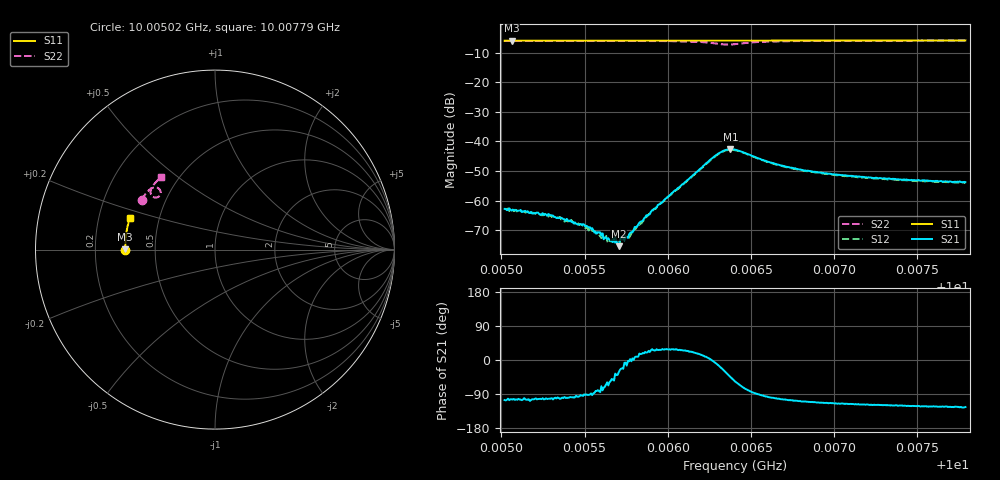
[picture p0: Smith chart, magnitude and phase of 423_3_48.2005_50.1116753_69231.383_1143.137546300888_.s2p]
#  HZ  S  RI  R  50.00
! Rohde & Schwarz Vector Network Analyzer
! Rohde-Schwarz,ZNB20-2Port,1311601062101988,3.16
! Created: UTC 3/20/2024, 11:55:01 AM
! freq[Hz]  re:S11  im:S11  re:S21  im:S21  re:S12  im:S12  re:S22  im:S22
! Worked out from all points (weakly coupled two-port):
!   401 points, 10.00502 GHz to 10.00779 GHz, reference 50 ohm
!   highest |S21| = -42.67 dB at 10.00638 GHz (marker M1); lowest = -75.4 dB at 10.00571 GHz (marker M2)
!   lowest |S11| = -6.0 dB at 10.00506 GHz (marker M3), VSWR 3.00, Z = 16.7 + j0.066 ohm
!   |S11| at or under -10 dB: nowhere
!   |S22| runs from -7.3 to -6.0 dB; largest |S21 - S12| = 0.00046
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1.000502e10  -0.4998 -0.00124  -0.000195 -0.000695  -0.000121 -0.000707  -0.4086 0.2787
1.0005061e10  -0.4997 0.00149  -0.000159 -0.000654  -0.000138 -0.000652  -0.4072 0.2811
1.0005297e10  -0.5 0.0168  -0.000115 -0.000546  -0.00011 -0.000547  -0.3982 0.295
1.0005338e10  -0.5001 0.0196  -7.71e-05 -0.000503  -6.28e-05 -0.000505  -0.3965 0.2973
1.0005484e10  -0.4998 0.029  -2.6e-05 -0.000388  -2.18e-05 -0.00039  -0.3902 0.3062
1.0005594e10  -0.4996 0.0363  2.71e-05 -0.000288  4.54e-05 -0.000245  -0.3848 0.3128
1.0005622e10  -0.4995 0.038  7.89e-05 -0.000224  0.000105 -0.000224  -0.3835 0.3145
1.000565e10  -0.4994 0.0398  0.000111 -0.000184  0.000105 -0.00017  -0.3821 0.3162
1.0005684e10  -0.4994 0.0421  0.000157 -0.000114  0.000164 -0.000174  -0.3803 0.3184
1.0005705e10  -0.4992 0.0433  0.000142 -9.28e-05  0.000194 -8.75e-05  -0.3791 0.3197
1.0005747e10  -0.4991 0.0462  0.000236 -2.83e-05  0.000248 -6.49e-05  -0.3769 0.3223
1.0005774e10  -0.499 0.0479  0.000283 1.16e-05  0.000254 -3.24e-06  -0.375 0.3241
1.0005809e10  -0.4988 0.0502  0.00035 5.42e-05  0.00033 6.23e-05  -0.373 0.3262
1.0005947e10  -0.4981 0.0591  0.000764 0.000386  0.000719 0.000428  -0.3629 0.3353
1.0006273e10  -0.4953 0.0799  0.00532 -0.000244  0.00521 -1.25e-05  -0.3082 0.3347
1.0006328e10  -0.4948 0.0833  0.00623 -0.00269  0.0062 -0.00234  -0.3027 0.3124
1.0006377e10  -0.4944 0.0862  0.00521 -0.00519  0.00535 -0.00481  -0.3156 0.2936
1.0006404e10  -0.4941 0.0878  0.00399 -0.00602  0.00424 -0.00567  -0.3276 0.2897
1.000666e10  -0.4922 0.1042  -0.000863 -0.00397  -0.000627 -0.00392  -0.358 0.3319
1.0006868e10  -0.4897 0.1174  -0.00109 -0.0029  -0.00096 -0.00288  -0.3487 0.3523
1.0007332e10  -0.4828 0.1465  -0.00115 -0.00205  -0.00107 -0.00202  -0.3252 0.3806
1.0007789e10  -0.4743 0.1747  -0.00115 -0.0017  -0.00104 -0.00168  -0.3019 0.4024
